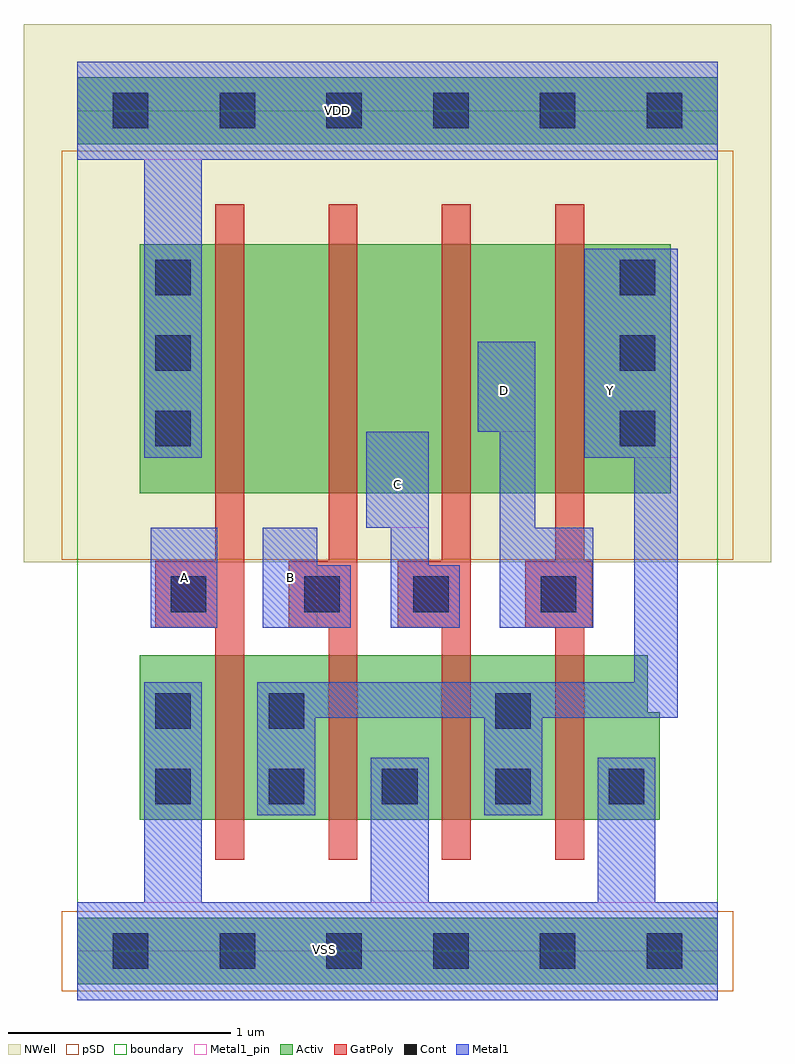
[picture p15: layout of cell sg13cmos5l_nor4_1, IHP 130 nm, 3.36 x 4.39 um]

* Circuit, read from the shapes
.subckt sg13cmos5l_nor4_1 A B C D VDD VSS Y
XM1 Y A VSS VSS sg13_lv_nmos w=0.74u l=0.13u
XM2 VSS B Y VSS sg13_lv_nmos w=0.74u l=0.13u
XM3 Y C VSS VSS sg13_lv_nmos w=0.74u l=0.13u
XM4 VSS D Y VSS sg13_lv_nmos w=0.74u l=0.13u
XM5 n1 A VDD VDD sg13_lv_pmos w=1.12u l=0.13u
XM6 n2 B n1 VDD sg13_lv_pmos w=1.12u l=0.13u
XM7 n3 C n2 VDD sg13_lv_pmos w=1.12u l=0.13u
XM8 Y D n3 VDD sg13_lv_pmos w=1.12u l=0.13u
.ends

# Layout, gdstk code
import gdstk
lib = gdstk.Library(unit=1e-6, precision=1e-09)
def R(c, l, rs):  # rectangles x0, y0, x1, y1
    for r in rs: c.add(gdstk.rectangle(r[:2], r[2:], *l))
def A(c, l, x, y, w, h, nx, ny, dx, dy):  # array of equal rectangles
    R(c, l, [(x+i*dx, y+j*dy, x+i*dx+w, y+j*dy+h) for i in range(nx) for j in range(ny)])
def P(c, l, *ps):  # polygons
    for p in ps: c.add(gdstk.Polygon(p, *l))
Activ = (1, 0)
GatPoly = (5, 0)
Cont = (6, 0)
Metal1 = (8, 0)
Metal1_pin = (8, 2)
pSD = (14, 0)
NWell = (31, 0)
boundary = (189, 4)

sg13cmos5l_nor4_1 = lib.new_cell('sg13cmos5l_nor4_1')
R(sg13cmos5l_nor4_1, Activ, [(0,-0.15,2.88,0.15), (0.28,2.06,2.67,3.18), (0,3.63,2.88,3.93)])
P(sg13cmos5l_nor4_1, Activ, [(0.28,0.59),(0.28,1.33),(2.565,1.33),(2.565,1.075),(2.62,1.075),(2.62,0.59)])
P(sg13cmos5l_nor4_1, GatPoly, [(0.62,0.41),(0.62,1.455),(0.35,1.455),(0.35,1.755),(0.62,1.755),(0.62,3.36),(0.75,3.36),(0.75,0.41)],
  [(1.13,0.41),(1.13,1.455),(0.95,1.455),(0.95,1.755),(1.13,1.755),(1.13,3.36),(1.26,3.36),(1.26,0.41)],
  [(1.64,0.41),(1.64,1.455),(1.44,1.455),(1.44,1.755),(1.64,1.755),(1.64,3.36),(1.77,3.36),(1.77,0.41)],
  [(2.15,0.41),(2.15,1.455),(2.015,1.455),(2.015,1.755),(2.15,1.755),(2.15,3.36),(2.28,3.36),(2.28,1.755),(2.315,1.755),(2.315,1.455),(2.28,1.455),(2.28,0.41)])
A(sg13cmos5l_nor4_1, Cont, 0.35, 0.66, 0.16, 0.16, 5, 1, 0.51, 0)
A(sg13cmos5l_nor4_1, Cont, 0.35, 2.27, 0.16, 0.16, 1, 3, 0, 0.34)
A(sg13cmos5l_nor4_1, Cont, 2.44, 2.27, 0.16, 0.16, 1, 3, 0, 0.34)
R(sg13cmos5l_nor4_1, Cont, [(0.16,-0.08,0.32,0.08), (0.16,-0.08,0.32,0.08), (0.64,-0.08,0.8,0.08), (0.64,-0.08,0.8,0.08), (1.12,-0.08,1.28,0.08), (1.12,-0.08,1.28,0.08), (1.6,-0.08,1.76,0.08), (1.6,-0.08,1.76,0.08), (2.08,-0.08,2.24,0.08), (2.08,-0.08,2.24,0.08), (2.56,-0.08,2.72,0.08), (2.56,-0.08,2.72,0.08), (0.35,1,0.51,1.16), (0.86,1,1.02,1.16), (1.88,1,2.04,1.16), (0.42,1.525,0.58,1.685), (1.02,1.525,1.18,1.685), (1.51,1.525,1.67,1.685), (2.085,1.525,2.245,1.685), (0.16,3.7,0.32,3.86), (0.16,3.7,0.32,3.86), (0.64,3.7,0.8,3.86), (0.64,3.7,0.8,3.86), (1.12,3.7,1.28,3.86), (1.12,3.7,1.28,3.86), (1.6,3.7,1.76,3.86), (1.6,3.7,1.76,3.86), (2.08,3.7,2.24,3.86), (2.08,3.7,2.24,3.86), (2.56,3.7,2.72,3.86), (2.56,3.7,2.72,3.86)])
R(sg13cmos5l_nor4_1, Metal1, [(0,-0.22,2.88,0.22), (0.3,0.22,0.56,1.21), (1.32,0.22,1.58,0.87), (2.34,0.22,2.6,0.87), (0.33,1.455,0.63,1.905), (0.3,2.22,0.56,3.56), (0,3.56,2.88,4)])
P(sg13cmos5l_nor4_1, Metal1, [(1.9,1.455),(1.9,2.335),(1.8,2.335),(1.8,2.74),(2.06,2.74),(2.06,1.905),(2.32,1.905),(2.32,1.455)],
  [(1.41,1.455),(1.41,1.905),(1.3,1.905),(1.3,2.335),(1.58,2.335),(1.58,1.735),(1.72,1.735),(1.72,1.455)],
  [(0.81,0.61),(0.81,1.21),(2.505,1.21),(2.505,2.22),(2.28,2.22),(2.28,3.16),(2.7,3.16),(2.7,1.05),(2.09,1.05),(2.09,0.61),(1.83,0.61),(1.83,1.05),(1.07,1.05),(1.07,0.61)],
  [(0.835,1.455),(0.835,1.905),(1.08,1.905),(1.08,1.735),(1.23,1.735),(1.23,1.455)])
R(sg13cmos5l_nor4_1, Metal1_pin, [(0,-0.22,2.88,0.22), (0.33,1.455,0.63,1.905), (0.835,1.455,1.08,1.905), (1.3,1.905,1.58,2.335), (2.28,2.22,2.7,3.16), (1.8,2.335,2.06,2.74), (0,3.56,2.88,4)])
R(sg13cmos5l_nor4_1, pSD, [(-0.07,-0.18,2.95,0.18), (-0.07,1.76,2.95,3.6)])
R(sg13cmos5l_nor4_1, NWell, [(-0.24,1.75,3.12,4.17)])
R(sg13cmos5l_nor4_1, boundary, [(0,0,2.88,3.78)])
sg13cmos5l_nor4_1.add(gdstk.Label('VSS', (1.11,0.005), layer=8, texttype=25))
sg13cmos5l_nor4_1.add(gdstk.Label('VDD', (1.17,3.78), layer=8, texttype=25))
sg13cmos5l_nor4_1.add(gdstk.Label('B', (0.96,1.68), layer=8, texttype=25))
sg13cmos5l_nor4_1.add(gdstk.Label('C', (1.44,2.1), layer=8, texttype=25))
sg13cmos5l_nor4_1.add(gdstk.Label('Y', (2.4,2.52), layer=8, texttype=25))
sg13cmos5l_nor4_1.add(gdstk.Label('A', (0.48,1.68), layer=8, texttype=25))
sg13cmos5l_nor4_1.add(gdstk.Label('D', (1.92,2.52), layer=8, texttype=25))

lib.write_gds('sg13cmos5l_nor4_1.gds')
